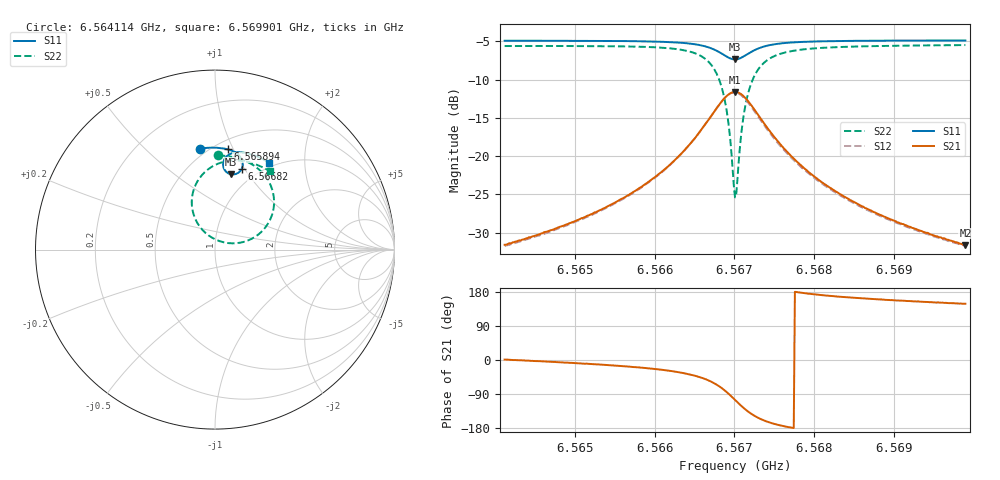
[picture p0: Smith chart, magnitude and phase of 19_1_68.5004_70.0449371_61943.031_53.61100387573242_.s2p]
#  HZ  S  RI  R  50.00
! Rohde & Schwarz Vector Network Analyzer
! Rohde-Schwarz,ZNB20-2Port,1311601062101988,3.16
! Created: UTC 3/20/2024, 5:04:35 PM
! freq[Hz]  re:S11  im:S11  re:S21  im:S21  re:S12  im:S12  re:S22  im:S22
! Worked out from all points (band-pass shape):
!   401 points, 6.564114 GHz to 6.569901 GHz, reference 50 ohm
!   highest |S21| = -11.60 dB at 6.567008 GHz (marker M1); lowest = -31.6 dB at 6.569901 GHz (marker M2)
!   |S21| within 3 dB of the highest: 6.566719 GHz to 6.567298 GHz (579 kHz wide, 0.00882 % of centre)
!   lowest |S11| = -7.3 dB at 6.567008 GHz (marker M3), VSWR 2.50, Z = 40.5 + j41.7 ohm
!   |S11| at or under -10 dB: nowhere
!   |S22| runs from -25.4 to -5.5 dB; largest |S21 - S12| = 0.012
!   S11 on the Smith chart (normalised r, x): 6.564114 GHz: 0.45, +0.76; 6.565894 GHz: 0.58, +0.95; 6.56682 GHz: 0.83, +0.97; 6.569901 GHz: 0.94, +1.34
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6.5641144e9  -0.0815 0.5632  0.0263 0.000537  0.0258 6.14e-05  0.0174 0.5246
6.5650838e9  -0.0031 0.5679  0.0389 -0.00634  0.0381 -0.00686  0.1062 0.5142
6.565894e9  0.0701 0.5587  0.0618 -0.0242  0.0607 -0.025  0.2035 0.4764
6.5660531e9  0.0861 0.5538  0.0694 -0.0323  0.0682 -0.0331  0.2283 0.46
6.5663569e9  0.1196 0.5369  0.0883 -0.0604  0.0868 -0.0615  0.2836 0.4042
6.5665739e9  0.1444 0.5114  0.1019 -0.1048  0.0998 -0.1066  0.3229 0.319
6.5667186e9  0.1546 0.4807  0.098 -0.1582  0.0944 -0.1609  0.324 0.2169
6.5668199e9  0.1495 0.4515  0.0721 -0.2084  0.0657 -0.2112  0.2796 0.1223
6.5669067e9  0.1293 0.4275  0.0206 -0.2473  0.0112 -0.248  0.186 0.0518
6.5669356e9  0.1189 0.4224  -0.00312 -0.255  -0.0133 -0.2544  0.1433 0.0391
6.5669935e9  0.0946 0.419  -0.0558 -0.2567  -0.0664 -0.2524  0.0495 0.0404
6.567008e9  0.0884 0.4199  -0.0693 -0.2538  -0.0794 -0.2486  0.0265 0.0468
6.5670369e9  0.0765 0.4238  -0.0945 -0.2444  -0.104 -0.2372  -0.0166 0.0665
6.5670948e9  0.0575 0.4388  -0.1356 -0.2126  -0.1425 -0.2032  -0.0841 0.127
6.5671382e9  0.0488 0.4534  -0.1557 -0.1829  -0.16 -0.1728  -0.1141 0.1814
6.567196e9  0.0449 0.4737  -0.1685 -0.1431  -0.1698 -0.1333  -0.1293 0.2521
6.5672684e9  0.049 0.4954  -0.1683 -0.1004  -0.1674 -0.0923  -0.1208 0.3261
6.5675288e9  0.0879 0.5343  -0.1262 -0.0217  -0.1235 -0.0183  -0.0253 0.4566
6.5679773e9  0.1465 0.5422  -0.0751 0.00806  -0.0733 0.00921  0.0953 0.4964
6.5684113e9  0.1892 0.5344  -0.0516 0.0132  -0.0504 0.0137  0.1643 0.4924
6.5689466e9  0.2337 0.5192  -0.0362 0.0144  -0.0353 0.0146  0.2244 0.4762
6.5699015e9  0.3027 0.4841  -0.0223 0.0137  -0.0219 0.0139  0.3041 0.4371
